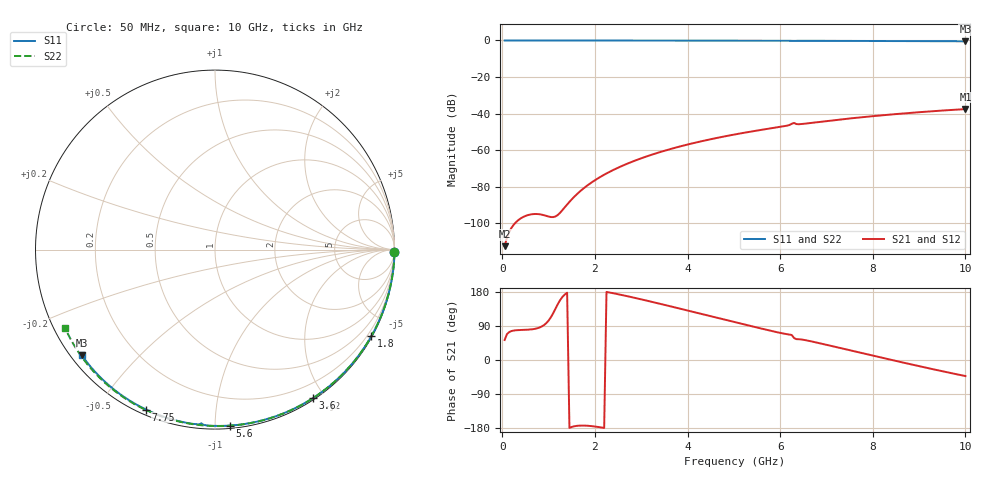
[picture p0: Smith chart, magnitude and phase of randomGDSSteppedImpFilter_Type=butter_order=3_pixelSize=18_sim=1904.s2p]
! freq	dB(S11)	phase(S11)	dB(S12)	phase(S12)
!  dB(S21)	phase(S21)	dB(S22)	phase(S22)
!S-par simulation data
#  GHz  S  DB  R 50
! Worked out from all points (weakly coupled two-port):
!   200 points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, 50 MHz to 10 GHz, reference 50 ohm
!   highest |S21| = -37.54 dB at 10 GHz (marker M1); lowest = -112.5 dB at 50 MHz (marker M2)
!   lowest |S11| = -0.5 dB at 10 GHz (marker M3), VSWR 36.65, Z = 1.53 - j17.4 ohm
!   |S11| at or under -10 dB: nowhere
!   |S22| runs from -0.5 to 0.0 dB; largest |S21 - S12| = 0
!   S11 on the Smith chart (normalised r, x): 50 MHz: open; 1.8 GHz: 0.03, -3.86; 3.6 GHz: 0.02, -1.85; 5.6 GHz: 0.02, -1.09; 7.75 GHz: 0.02, -0.66; 10 GHz: 0.03, -0.35
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0.05  -0.00 -0.8  -112.50 52.8  -112.50 52.8  -0.00 -0.9
0.9  -0.02 -14.7  -95.56 92.1  -95.56 92.1  -0.02 -15.8
1.75  -0.04 -28.2  -81.00 -173.0  -81.00 -173.0  -0.04 -30.4
1.8  -0.04 -29.0  -80.00 -173.2  -80.00 -173.2  -0.04 -31.3
2.1  -0.04 -33.8  -74.88 -177.3  -74.88 -177.3  -0.05 -36.3
2.3  -0.05 -36.9  -72.07 178.5  -72.07 178.5  -0.05 -39.7
2.5  -0.05 -40.0  -69.59 173.6  -69.59 173.6  -0.06 -43.0
2.9  -0.06 -46.1  -65.38 162.9  -65.38 162.9  -0.06 -49.6
3.4  -0.07 -53.7  -61.09 148.5  -61.09 148.5  -0.08 -57.7
3.6  -0.08 -56.7  -59.60 142.6  -59.60 142.6  -0.08 -60.9
4.3  -0.09 -66.9  -55.12 121.6  -55.12 121.6  -0.10 -71.9
5.05  -0.12 -77.6  -51.26 99.1  -51.26 99.1  -0.13 -83.3
5.6  -0.14 -85.2  -48.87 82.8  -48.87 82.8  -0.15 -91.4
6.15  -0.17 -92.7  -46.60 68.2  -46.60 68.2  -0.18 -99.3
6.3  -0.26 -94.5  -45.11 58.1  -45.11 58.1  -0.19 -101.5
6.35  -0.21 -94.9  -45.73 55.0  -45.73 55.0  -0.19 -102.2
6.4  -0.19 -95.7  -45.82 54.8  -45.82 54.8  -0.19 -102.9
6.7  -0.20 -99.8  -44.99 48.4  -44.99 48.4  -0.21 -107.1
7.75  -0.26 -113.3  -42.02 18.7  -42.02 18.7  -0.28 -121.7
8.35  -0.31 -120.9  -40.59 1.7  -40.59 1.7  -0.33 -129.8
9.2  -0.39 -131.6  -38.86 -21.6  -38.86 -21.6  -0.42 -141.4
10  -0.47 -141.7  -37.54 -42.4  -37.54 -42.4  -0.52 -152.4
